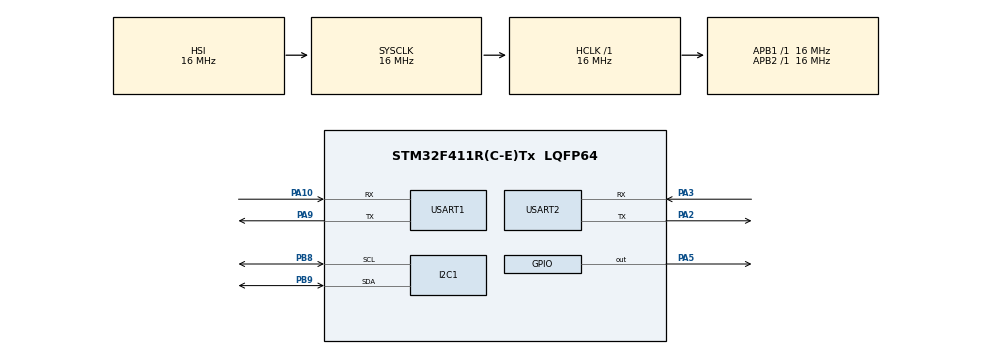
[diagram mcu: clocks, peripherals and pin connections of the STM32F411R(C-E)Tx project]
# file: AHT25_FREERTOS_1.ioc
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FREERTOS.Tasks01=Task1,0,128,StartTask1,Default,NULL,Dynamic,NULL,NULL;Task2,-1,128,StartTask2,Default,NULL,Dynamic,NULL,NULL
FREERTOS.configUSE_NEWLIB_REENTRANT=1
Mcu.Family=STM32F4
Mcu.Name=STM32F411R(C-E)Tx
Mcu.Package=LQFP64
NVIC.PriorityGroup=NVIC_PRIORITYGROUP_4
NVIC.TIM1_UP_TIM10_IRQn=true\:15\:0\:false\:false\:true\:false\:false\:true\:true
NVIC.TimeBase=TIM1_UP_TIM10_IRQn
NVIC.TimeBaseIP=TIM1
PA10.Mode=Asynchronous
PA10.Signal=USART1_RX
PA2.Mode=Asynchronous
PA2.Signal=USART2_TX
PA3.Mode=Asynchronous
PA3.Signal=USART2_RX
PA5.Signal=GPIO_Output
PA9.Mode=Asynchronous
PA9.Signal=USART1_TX
PB8.GPIO_Pu=GPIO_PULLUP
PB8.Mode=I2C
PB8.Signal=I2C1_SCL
PB9.GPIO_Pu=GPIO_PULLUP
PB9.Mode=I2C
PB9.Signal=I2C1_SDA
PH0\ -\ OSC_IN.Mode=HSE-External-Oscillator
PH0\ -\ OSC_IN.Signal=RCC_OSC_IN
PH1\ -\ OSC_OUT.Mode=HSE-External-Oscillator
PH1\ -\ OSC_OUT.Signal=RCC_OSC_OUT
ProjectManager.HeapSize=0x200
ProjectManager.StackSize=0x400
ProjectManager.TargetToolchain=STM32CubeIDE
RCC.AHBFreq_Value=16000000
RCC.APB1Freq_Value=16000000
RCC.APB2Freq_Value=16000000
RCC.CortexFreq_Value=16000000
RCC.HSE_VALUE=25000000
RCC.HSI_VALUE=16000000
RCC.LSE_VALUE=32768
RCC.SYSCLKFreq_VALUE=16000000
RCC.VCOOutputFreq_Value=192000000
USART1.VirtualMode=VM_ASYNC
USART2.VirtualMode=VM_ASYNC
VP_FREERTOS_VS_CMSIS_V1.Mode=CMSIS_V1
VP_SYS_VS_tim1.Mode=TIM1
board=custom

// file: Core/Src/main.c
/* USER CODE BEGIN Header */
/**
  ******************************************************************************
  * @file           : main.c
  * @brief          : Main program body
  ******************************************************************************
  * @attention
  *
  * Copyright (c) 2023 STMicroelectronics.
  * All rights reserved.
  *
  * This software is licensed under terms that can be found in the LICENSE file
  * in the root directory of this software component.
  * If no LICENSE file comes with this software, it is provided AS-IS.
  *
  ******************************************************************************
  */
/* USER CODE END Header */
#include "main.h"
#include "cmsis_os.h"
#include "stdio.h"
#include "string.h"

/* USER CODE BEGIN PD */
#define DBG_UART 1
/* USER CODE END PD */

I2C_HandleTypeDef hi2c1;

UART_HandleTypeDef huart1;
UART_HandleTypeDef huart2;
#define AHT25_ADDR 0x70 // Address of the AHT25 sensor

// AHT25 commands
#define AHT25_INIT_CMD 0xE1
#define AHT25_MEASURE_CMD 0xAC

osThreadId Task1Handle;
osThreadId Task2Handle;
osThreadId Task3Handle;

void SystemClock_Config(void);
static void MX_GPIO_Init(void);
static void MX_I2C1_Init(void);
static void MX_USART1_UART_Init(void);
static void MX_USART2_UART_Init(void);
void StartTask1(void const * argument);
void StartTask2(void const * argument);
void StartTask3(void const * argument);
void mqtt_data_send(void);
void WE10_Init (char *SSID, char *PASSWD);
void MQTT_Init();

/* USER CODE BEGIN PFP */
float temperature, humidity;
char buffer[128];

float read_sensor_values() {
    uint8_t data[6];
    uint8_t cmd = AHT25_MEASURE_CMD;

    HAL_I2C_Master_Transmit(&hi2c1, AHT25_ADDR, &cmd, 1, HAL_MAX_DELAY);
    //HAL_Delay(100);
    HAL_I2C_Master_Receive(&hi2c1, 0x71, data, 6, HAL_MAX_DELAY);

    humidity = ((float)((data[1] << 12) | (data[2] << 4) | (data[3] >> 4))) / 1048576.0 * 100.0;
    temperature = ((float)(((data[3] & 0x0F) << 16) | (data[4] << 8) | data[5])) / 1048576.0 * 200.0 - 50.0;
//    sprintf(buffer, "HUMIDITY:----->");
//    HAL_UART_Transmit(&huart2, (uint8_t*)buffer, strlen(buffer), 1000);
//    sprintf(buffer, "%.2f\r\n", humidity);  // Dereference the pointer
//    HAL_UART_Transmit(&huart2, (uint8_t*)buffer, strlen(buffer), 1000);
//    HAL_Delay(1000);
//
//    // Print temperature
//    sprintf(buffer, "TEMPERATURE:---->");
//    HAL_UART_Transmit(&huart2, (uint8_t*)buffer, strlen(buffer), 1000);
//    sprintf(buffer, "%.2f\r\n", temperature);  // Dereference the pointer
//    HAL_UART_Transmit(&huart2, (uint8_t*)buffer, strlen(buffer), 1000);
//    HAL_Delay(1000);

	    return humidity;
	}

void send_task1(void)
{

	sprintf(buffer, ".....TASK_1_LED_TOGGLE.....\n\r");
	HAL_UART_Transmit(&huart2, (uint8_t*)buffer, strlen(buffer), 1000);

}

void send_task2(void)
{

	sprintf(buffer, ".....TASK_2.....\n\r");
	HAL_UART_Transmit(&huart2, (uint8_t*)buffer, strlen(buffer), 1000);

}
void send_task3(void)
{

	sprintf(buffer, ".....TASK_3.....\n\r");
	HAL_UART_Transmit(&huart2, (uint8_t*)buffer, strlen(buffer), 1000);

}

/* USER CODE END PFP */

//void send_mqtt_1(void)
//{
//		mqtt_data_send();
//		HAL_Delay(100);
//
//}
void send_task_1(void)
{

	HAL_GPIO_TogglePin(GPIOA, GPIO_PIN_5);

}

int main(void)
{

  /* MCU Configuration--------------------------------------------------------*/

  /* Reset of all peripherals, Initializes the Flash interface and the Systick. */
  HAL_Init();

  /* Configure the system clock */
  SystemClock_Config();

  /* Initialize all configured peripherals */
  MX_GPIO_Init();
  MX_I2C1_Init();
  MX_USART1_UART_Init();
  MX_USART2_UART_Init();
  /* USER CODE BEGIN 2 */
  WE10_Init("Dinu","12345678");
  MQTT_Init();

  /* USER CODE END 2 */

  /* Create the thread(s) */
  /* definition and creation of Task1 */
  osThreadDef(Task1, StartTask1, osPriorityAboveNormal, 0, 128);
  Task1Handle = osThreadCreate(osThread(Task1), NULL);

  /* definition and creation of Task2 */
  osThreadDef(Task2, StartTask2, osPriorityNormal, 0, 128);
  Task2Handle = osThreadCreate(osThread(Task2), NULL);

  /* definition and creation of Task2 */
//  osThreadDef(Task3, StartTask3, osPriorityBelowNormal, 0, 128);
//  Task3Handle = osThreadCreate(osThread(Task3), NULL);

  /* Start scheduler */
  osKernelStart();
  /* We should never get here as control is now taken by the scheduler */
  /* Infinite loop */
  while (1)
  {
//	  	if(HAL_I2C_IsDeviceReady(&hi2c1, 0x70,2,18)==HAL_OK)
//	   	{
//	   		  HAL_GPIO_WritePin(GPIOA, GPIO_PIN_5, GPIO_PIN_SET);
//	   	}

  }
}

void SystemClock_Config(void)
{
  RCC_OscInitTypeDef RCC_OscInitStruct = {0};
  RCC_ClkInitTypeDef RCC_ClkInitStruct = {0};

  /** Configure the main internal regulator output voltage
  */
  __HAL_RCC_PWR_CLK_ENABLE();
  __HAL_PWR_VOLTAGESCALING_CONFIG(PWR_REGULATOR_VOLTAGE_SCALE1);

  /** Initializes the RCC Oscillators according to the specified parameters
  * in the RCC_OscInitTypeDef structure.
  */
  RCC_OscInitStruct.OscillatorType = RCC_OSCILLATORTYPE_HSI;
  RCC_OscInitStruct.HSIState = RCC_HSI_ON;
  RCC_OscInitStruct.HSICalibrationValue = RCC_HSICALIBRATION_DEFAULT;
  RCC_OscInitStruct.PLL.PLLState = RCC_PLL_NONE;
  if (HAL_RCC_OscConfig(&RCC_OscInitStruct) != HAL_OK)
  {
    Error_Handler();
  }

  /** Initializes the CPU, AHB and APB buses clocks
  */
  RCC_ClkInitStruct.ClockType = RCC_CLOCKTYPE_HCLK|RCC_CLOCKTYPE_SYSCLK
                              |RCC_CLOCKTYPE_PCLK1|RCC_CLOCKTYPE_PCLK2;
  RCC_ClkInitStruct.SYSCLKSource = RCC_SYSCLKSOURCE_HSI;
  RCC_ClkInitStruct.AHBCLKDivider = RCC_SYSCLK_DIV1;
  RCC_ClkInitStruct.APB1CLKDivider = RCC_HCLK_DIV1;
  RCC_ClkInitStruct.APB2CLKDivider = RCC_HCLK_DIV1;

  if (HAL_RCC_ClockConfig(&RCC_ClkInitStruct, FLASH_LATENCY_0) != HAL_OK)
  {
    Error_Handler();
  }
}

static void MX_I2C1_Init(void)
{

  hi2c1.Instance = I2C1;
  hi2c1.Init.ClockSpeed = 100000;
  hi2c1.Init.DutyCycle = I2C_DUTYCYCLE_2;
  hi2c1.Init.OwnAddress1 = 0;
  hi2c1.Init.AddressingMode = I2C_ADDRESSINGMODE_7BIT;
  hi2c1.Init.DualAddressMode = I2C_DUALADDRESS_DISABLE;
  hi2c1.Init.OwnAddress2 = 0;
  hi2c1.Init.GeneralCallMode = I2C_GENERALCALL_DISABLE;
  hi2c1.Init.NoStretchMode = I2C_NOSTRETCH_DISABLE;
  if (HAL_I2C_Init(&hi2c1) != HAL_OK)
  {
    Error_Handler();
  }

}

static void MX_USART1_UART_Init(void)
{

  huart1.Instance = USART1;
  huart1.Init.BaudRate = 38400;
  huart1.Init.WordLength = UART_WORDLENGTH_8B;
  huart1.Init.StopBits = UART_STOPBITS_1;
  huart1.Init.Parity = UART_PARITY_NONE;
  huart1.Init.Mode = UART_MODE_TX_RX;
  huart1.Init.HwFlowCtl = UART_HWCONTROL_NONE;
  huart1.Init.OverSampling = UART_OVERSAMPLING_16;
  if (HAL_UART_Init(&huart1) != HAL_OK)
  {
    Error_Handler();
  }

}

static void MX_USART2_UART_Init(void)
{

  huart2.Instance = USART2;
  huart2.Init.BaudRate = 115200;
  huart2.Init.WordLength = UART_WORDLENGTH_8B;
  huart2.Init.StopBits = UART_STOPBITS_1;
  huart2.Init.Parity = UART_PARITY_NONE;
  huart2.Init.Mode = UART_MODE_TX_RX;
  huart2.Init.HwFlowCtl = UART_HWCONTROL_NONE;
  huart2.Init.OverSampling = UART_OVERSAMPLING_16;
  if (HAL_UART_Init(&huart2) != HAL_OK)
  {
    Error_Handler();
  }

}

static void MX_GPIO_Init(void)
{
  GPIO_InitTypeDef GPIO_InitStruct = {0};

  /* GPIO Ports Clock Enable */
  __HAL_RCC_GPIOH_CLK_ENABLE();
  __HAL_RCC_GPIOA_CLK_ENABLE();
  __HAL_RCC_GPIOB_CLK_ENABLE();

  /*Configure GPIO pin Output Level */
  HAL_GPIO_WritePin(GPIOA, GPIO_PIN_5, GPIO_PIN_RESET);

  /*Configure GPIO pin : PA5 */
  GPIO_InitStruct.Pin = GPIO_PIN_5;
  GPIO_InitStruct.Mode = GPIO_MODE_OUTPUT_PP;
  GPIO_InitStruct.Pull = GPIO_NOPULL;
  GPIO_InitStruct.Speed = GPIO_SPEED_FREQ_LOW;
  HAL_GPIO_Init(GPIOA, &GPIO_InitStruct);

}
void WE10_Init (char *SSID, char *PASSWD)
{
	char buffer[128];
	/********* CMD+RESET **********/
	//memset(&buffer[0],0x00,strlen(buffer));
	sprintf (&buffer[0], "CMD+RESET\r\n");
	HAL_UART_Transmit(&huart1, (uint8_t*)buffer, strlen(buffer), 1000);
	HAL_UART_Transmit(&huart2, (uint8_t*)buffer, strlen(buffer), 1000);

	HAL_UART_Receive(&huart1, (uint8_t*)buffer, strlen(buffer), 1000);
	HAL_UART_Transmit(&huart2, (uint8_t*)buffer, strlen(buffer), 1000);

	/*********  CMD+WIFIMODE=1  **********/
	//memset(&buffer[0],0x00,strlen(buffer));
	sprintf (&buffer[0], "CMD+WIFIMODE=1\r\n");
	HAL_UART_Transmit(&huart1, (uint8_t*)buffer, strlen(buffer), 1000);
	HAL_UART_Transmit(&huart2, (uint8_t*)buffer, strlen(buffer), 1000);

	HAL_UART_Receive(&huart1, (uint8_t*)buffer, strlen(buffer), 1000);
	HAL_UART_Transmit(&huart2, (uint8_t*)buffer, strlen(buffer), 1000);

	/********* CMD+CONTOAP=SSID,PASSWD **********/
	//memset(&buffer[0],0x00,strlen(buffer));
	sprintf(&buffer[0], "CMD+CONTOAP=%s,%s\r\n", SSID, PASSWD);

	HAL_UART_Transmit(&huart1, (uint8_t*)buffer, strlen(buffer), 10000);
	HAL_UART_Transmit(&huart2, (uint8_t*)buffer, strlen(buffer), 10000);
	//memset(&buffer[0],0x00,strlen(buffer));
	HAL_Delay(2000);
	HAL_UART_Receive(&huart1, (uint8_t*)buffer, strlen(buffer), 10000);
	HAL_Delay(500);
	HAL_UART_Transmit(&huart2, (uint8_t*)buffer, strlen(buffer), 10000);

	/********* CMD?WIFI**********/
	//memset(&buffer[0],0x00,strlen(buffer));
	sprintf (&buffer[0], "CMD?WIFI\r\n");
	HAL_UART_Transmit(&huart1, (uint8_t*)buffer, strlen(buffer), 10000);
	HAL_UART_Transmit(&huart2, (uint8_t*)buffer, strlen(buffer), 10000);
//	memset(&buffer[0],0x00,strlen(buffer));
//	HAL_Delay(500);
	HAL_UART_Receive(&huart1, (uint8_t*)buffer, strlen(buffer), 10000);
	HAL_Delay(500);
	HAL_UART_Transmit(&huart2, (uint8_t*)buffer, strlen(buffer), 10000);

}

void MQTT_Init()
{

	char buffer[128];

	/*********CMD+MQTTNETCFG **********/
	//memset(&buffer[0],0x00,strlen(buffer));
	sprintf (&buffer[0], "CMD+MQTTNETCFG=dev.rightech.io,1883\r\n");
	HAL_UART_Transmit(&huart1, (uint8_t*)buffer, strlen(buffer), 10000);
	HAL_UART_Transmit(&huart2, (uint8_t*)buffer, strlen(buffer), 10000);
	//memset(&buffer[0],0x00,strlen(buffer));
	//HAL_Delay(500);
	HAL_UART_Receive(&huart1, (uint8_t*)buffer, strlen(buffer), 10000);
	//HAL_Delay(500);
	HAL_UART_Transmit(&huart2, (uint8_t*)buffer, strlen(buffer), 10000);

	/*********CMD+MQTTCONCFG **********/
	//memset(&buffer[0],0x00,strlen(buffer));
	sprintf (&buffer[0], "CMD+MQTTCONCFG=3,mqtt-velikapatidinesh2000-uyz9a3,,,,,,,,,\r\n");
	HAL_UART_Transmit(&huart1, (uint8_t*)buffer, strlen(buffer), 1000);
	HAL_UART_Transmit(&huart2, (uint8_t*)buffer, strlen(buffer), 1000);
	//memset(&buffer[0],0x00,strlen(buffer));
	//HAL_Delay(500);
	HAL_UART_Receive(&huart1, (uint8_t*)buffer, strlen(buffer), 1000);
	HAL_Delay(500);
	HAL_UART_Transmit(&huart2, (uint8_t*)buffer, strlen(buffer), 1000);

	/*********CMD+MQTTSTART **********/
	//memset(&buffer[0],0x00,strlen(buffer));
	sprintf (&buffer[0], "CMD+MQTTSTART=1\r\n");
	HAL_UART_Transmit(&huart1, (uint8_t*)buffer, strlen(buffer), 1000);
	HAL_UART_Transmit(&huart2, (uint8_t*)buffer, strlen(buffer), 1000);
//	memset(&buffer[0],0x00,strlen(buffer));
	//HAL_Delay(5000);
	HAL_UART_Receive(&huart1, (uint8_t*)buffer, strlen(buffer), 1000);
	//HAL_Delay(500);
	HAL_UART_Transmit(&huart2, (uint8_t*)buffer, strlen(buffer), 1000);

	/*********CMD+MQTTSUB *********/
	//memset(&buffer[0],0x00,strlen(buffer));
	sprintf (&buffer[0], "CMD+MQTTSUB=base/relay/led1\r\n");
	HAL_UART_Transmit(&huart1, (uint8_t*)buffer, strlen(buffer), 1000);
	HAL_UART_Transmit(&huart2, (uint8_t*)buffer, strlen(buffer), 1000);
	//HAL_Delay(500);
	HAL_UART_Receive(&huart1, (uint8_t*)buffer, strlen(buffer), 1000);
	HAL_UART_Transmit(&huart2, (uint8_t*)buffer, strlen(buffer), 1000);

}

	void mqtt_data_send()
	{
	    char buffer[50];
	    sprintf (&buffer[0], "CMD+MQTTPUB=base/state/temperature,%.2f\r\n",temperature);
	    		HAL_UART_Transmit(&huart1, (uint8_t*)buffer, strlen(buffer), 1000);
	    		HAL_UART_Transmit(&huart2, (uint8_t*)buffer, strlen(buffer), 1000);
	    printf("%s", buffer);

	}

/* USER CODE BEGIN Header_StartTask1 */

//	void StartTask1(void const * argument)
//	{
//	  /* USER CODE BEGIN 5 */
//	  /* Infinite loop */
//	  for(;;)
//	  {
//		  send_task1();
//		  send_task_1();
//		  osDelay(1000);
//	  }
//	  /* USER CODE END 5 */
//	}
//	/* USER CODE END Header_StartTask02 */
//	void StartTask2(void const * argument)
//	{
//	  /* USER CODE BEGIN StartTask02 */
//	  /* Infinite loop */
//	  for(;;)
//	  {
//		  	//send_task2();
//		  	  read_sensor_values();
//		  	    sprintf(buffer, "HUMIDITY:----->");
//		  	    HAL_UART_Transmit(&huart2, (uint8_t*)buffer, strlen(buffer), 1000);
//		  	    sprintf(buffer, "%.2f\r\n", humidity);  // Dereference the pointer
//		  	    HAL_UART_Transmit(&huart2, (uint8_t*)buffer, strlen(buffer), 1000);
//		  	    HAL_Delay(1000);
//
//		  	    // Print temperature
//		  	    sprintf(buffer, "TEMPERATURE:---->");
//		  	    HAL_UART_Transmit(&huart2, (uint8_t*)buffer, strlen(buffer), 1000);
//		  	    sprintf(buffer, "%.2f\r\n", temperature);  // Dereference the pointer
//		  	    HAL_UART_Transmit(&huart2, (uint8_t*)buffer, strlen(buffer), 1000);
//		  	    HAL_Delay(1000);
//		  	  osDelay(1000);
//	  }
//	  /* USER CODE END StartTask02 */
//	}
//
////	void StartTask3(void const * argument)
////	{
////	  /* USER CODE BEGIN StartTask02 */
////	  /* Infinite loop */
////	  while(1)
////	  {
////		  	//send_task3();
////		  	mqtt_data_send();
////			osDelay(1000);
////	  }
////	  /* USER CODE END StartTask02 */
////	}
///* USER CODE END Header_StartTask1 */

void StartTask1(void const * argument)
{
  /* USER CODE BEGIN 5 */
  /* Infinite loop */
  for(;;)
  {
	    //send_task_1();
	  send_task_1();
	    osDelay(1000);

  }
  /* USER CODE END 5 */
}

void StartTask2(void const * argument)
{
  /* USER CODE BEGIN StartTask2 */
  /* Infinite loop */
  for(;;)
  {
	  send_task2();
	  read_sensor_values();
	  osDelay(1000);

	  //vTaskDelete(NULL);
  }
  /* USER CODE END StartTask2 */
}

/* USER CODE END Header_StartTask3 */
void StartTask3(void const * argument)
{
  /* USER CODE MQTT_BEGIN StartTask2 */
  /* Infinite loop */
  for(;;)
  {
	  //send_task3();
//	  send_mqtt_1();
	  mqtt_data_send();
	  osDelay(1000);
  }
  /* USER CODE MQTT_END StartTask2 */
}

void HAL_TIM_PeriodElapsedCallback(TIM_HandleTypeDef *htim)
{
  if (htim->Instance == TIM1) {
    HAL_IncTick();
  }
}

void Error_Handler(void)
{
  __disable_irq();
  while (1)
  {
  }
}
